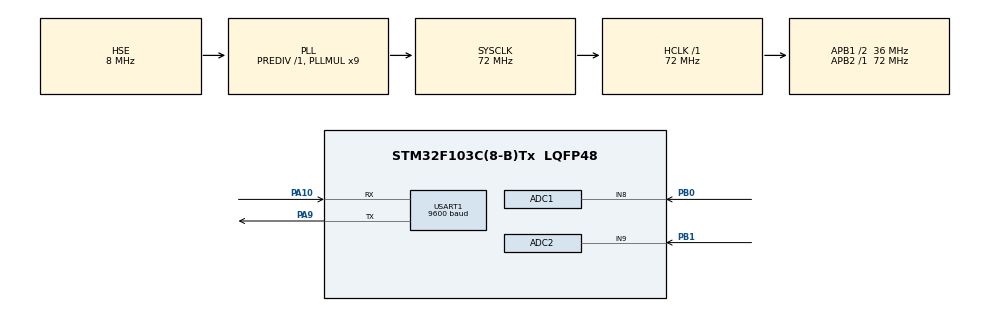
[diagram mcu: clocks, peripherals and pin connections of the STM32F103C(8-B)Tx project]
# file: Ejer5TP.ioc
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ADC1.Channel-5\#ChannelRegularConversion=ADC_CHANNEL_8
ADC1.ContinuousConvMode=ENABLE
ADC1.NbrOfConversionFlag=1
ADC1.Rank-5\#ChannelRegularConversion=1
ADC1.SamplingTime-5\#ChannelRegularConversion=ADC_SAMPLETIME_1CYCLE_5
ADC1.master=1
ADC2.Channel-0\#ChannelRegularConversion=ADC_CHANNEL_9
ADC2.NbrOfConversionFlag=1
ADC2.Rank-0\#ChannelRegularConversion=1
ADC2.SamplingTime-0\#ChannelRegularConversion=ADC_SAMPLETIME_1CYCLE_5
Mcu.Family=STM32F1
Mcu.Name=STM32F103C(8-B)Tx
Mcu.Package=LQFP48
NVIC.ADC1_2_IRQn=true\:0\:0\:false\:false\:true\:true\:true\:true
NVIC.PriorityGroup=NVIC_PRIORITYGROUP_4
NVIC.USART1_IRQn=true\:0\:0\:false\:false\:true\:true\:true\:true
PA10.Mode=Asynchronous
PA10.Signal=USART1_RX
PA13.Mode=Serial_Wire
PA13.Signal=SYS_JTMS-SWDIO
PA14.Mode=Serial_Wire
PA14.Signal=SYS_JTCK-SWCLK
PA9.Mode=Asynchronous
PA9.Signal=USART1_TX
PB0.Signal=ADCx_IN8
PB1.Signal=ADCx_IN9
PD0-OSC_IN.Mode=HSE-External-Oscillator
PD0-OSC_IN.Signal=RCC_OSC_IN
PD1-OSC_OUT.Mode=HSE-External-Oscillator
PD1-OSC_OUT.Signal=RCC_OSC_OUT
ProjectManager.HeapSize=0x200
ProjectManager.StackSize=0x400
ProjectManager.TargetToolchain=STM32CubeIDE
RCC.ADCPresc=RCC_ADCPCLK2_DIV6
RCC.AHBFreq_Value=72000000
RCC.APB1CLKDivider=RCC_HCLK_DIV2
RCC.APB1Freq_Value=36000000
RCC.APB1TimFreq_Value=72000000
RCC.APB2Freq_Value=72000000
RCC.APB2TimFreq_Value=72000000
RCC.HCLKFreq_Value=72000000
RCC.PLLMUL=RCC_PLL_MUL9
RCC.PLLSourceVirtual=RCC_PLLSOURCE_HSE
RCC.SYSCLKFreq_VALUE=72000000
RCC.SYSCLKSource=RCC_SYSCLKSOURCE_PLLCLK
RCC.USBFreq_Value=72000000
SH.ADCx_IN8.0=ADC1_IN8,IN8
SH.ADCx_IN9.0=ADC2_IN9,IN9
USART1.BaudRate=9600
USART1.VirtualMode=VM_ASYNC
board=custom

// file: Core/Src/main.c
/* USER CODE BEGIN Header */
/**
  ******************************************************************************
  * @file           : main.c
  * @brief          : Main program body
  ******************************************************************************
  * @attention
  *
  * Copyright (c) 2024 STMicroelectronics.
  * All rights reserved.
  *
  * This software is licensed under terms that can be found in the LICENSE file
  * in the root directory of this software component.
  * If no LICENSE file comes with this software, it is provided AS-IS.
  *
  ******************************************************************************
  */
/* USER CODE END Header */
#include "main.h"

/* USER CODE BEGIN Includes */
#include "stdio.h"
#include "string.h"
#include <stdio.h>
/* USER CODE END Includes */

ADC_HandleTypeDef hadc1;
ADC_HandleTypeDef hadc2;

UART_HandleTypeDef huart1;

void SystemClock_Config(void);
static void MX_GPIO_Init(void);
static void MX_ADC1_Init(void);
static void MX_USART1_UART_Init(void);
static void MX_ADC2_Init(void);

/* USER CODE BEGIN 0 */
uint16_t measure_value; //valor medido en el divisor resistivo
uint16_t max_value; // valor maximo 3.3V
char msg[50];
char msg2[50];
/* USER CODE END 0 */

int main(void)
{

  /* MCU Configuration--------------------------------------------------------*/

  /* Reset of all peripherals, Initializes the Flash interface and the Systick. */
  HAL_Init();

  /* Configure the system clock */
  SystemClock_Config();

  /* Initialize all configured peripherals */
  MX_GPIO_Init();
  MX_ADC1_Init();
  MX_USART1_UART_Init();
  MX_ADC2_Init();
  /* USER CODE BEGIN 2 */
  HAL_ADC_Start(&hadc1);
  HAL_ADC_Start(&hadc2);
  /* USER CODE END 2 */

  /* Infinite loop */
  /* USER CODE BEGIN WHILE */
  while (1)
  {
	  HAL_ADC_PollForConversion(&hadc2, HAL_MAX_DELAY);
	  max_value = HAL_ADC_GetValue(&hadc2);
	  sprintf(msg2, "ADC CH2 Valor maximo : %u \r\n", max_value);
	  HAL_UART_Transmit(&huart1, (uint8_t*)msg2, strlen(msg2), HAL_MAX_DELAY);

	  HAL_ADC_PollForConversion(&hadc1, HAL_MAX_DELAY);
	  measure_value = HAL_ADC_GetValue(&hadc1);
	  sprintf(msg, "ADC CH1 Valor medido : %u \r\n", measure_value);
	  HAL_UART_Transmit(&huart1, (uint8_t*)msg, strlen(msg), HAL_MAX_DELAY);

	  HAL_Delay(1000);

    /* USER CODE END WHILE */

  }
}

void SystemClock_Config(void)
{
  RCC_OscInitTypeDef RCC_OscInitStruct = {0};
  RCC_ClkInitTypeDef RCC_ClkInitStruct = {0};
  RCC_PeriphCLKInitTypeDef PeriphClkInit = {0};

  /** Initializes the RCC Oscillators according to the specified parameters
  * in the RCC_OscInitTypeDef structure.
  */
  RCC_OscInitStruct.OscillatorType = RCC_OSCILLATORTYPE_HSE;
  RCC_OscInitStruct.HSEState = RCC_HSE_ON;
  RCC_OscInitStruct.HSEPredivValue = RCC_HSE_PREDIV_DIV1;
  RCC_OscInitStruct.HSIState = RCC_HSI_ON;
  RCC_OscInitStruct.PLL.PLLState = RCC_PLL_ON;
  RCC_OscInitStruct.PLL.PLLSource = RCC_PLLSOURCE_HSE;
  RCC_OscInitStruct.PLL.PLLMUL = RCC_PLL_MUL9;
  if (HAL_RCC_OscConfig(&RCC_OscInitStruct) != HAL_OK)
  {
    Error_Handler();
  }

  /** Initializes the CPU, AHB and APB buses clocks
  */
  RCC_ClkInitStruct.ClockType = RCC_CLOCKTYPE_HCLK|RCC_CLOCKTYPE_SYSCLK
                              |RCC_CLOCKTYPE_PCLK1|RCC_CLOCKTYPE_PCLK2;
  RCC_ClkInitStruct.SYSCLKSource = RCC_SYSCLKSOURCE_PLLCLK;
  RCC_ClkInitStruct.AHBCLKDivider = RCC_SYSCLK_DIV1;
  RCC_ClkInitStruct.APB1CLKDivider = RCC_HCLK_DIV2;
  RCC_ClkInitStruct.APB2CLKDivider = RCC_HCLK_DIV1;

  if (HAL_RCC_ClockConfig(&RCC_ClkInitStruct, FLASH_LATENCY_2) != HAL_OK)
  {
    Error_Handler();
  }
  PeriphClkInit.PeriphClockSelection = RCC_PERIPHCLK_ADC;
  PeriphClkInit.AdcClockSelection = RCC_ADCPCLK2_DIV6;
  if (HAL_RCCEx_PeriphCLKConfig(&PeriphClkInit) != HAL_OK)
  {
    Error_Handler();
  }
}

static void MX_ADC1_Init(void)
{

  ADC_ChannelConfTypeDef sConfig = {0};

  /** Common config
  */
  hadc1.Instance = ADC1;
  hadc1.Init.ScanConvMode = ADC_SCAN_DISABLE;
  hadc1.Init.ContinuousConvMode = ENABLE;
  hadc1.Init.DiscontinuousConvMode = DISABLE;
  hadc1.Init.ExternalTrigConv = ADC_SOFTWARE_START;
  hadc1.Init.DataAlign = ADC_DATAALIGN_RIGHT;
  hadc1.Init.NbrOfConversion = 1;
  if (HAL_ADC_Init(&hadc1) != HAL_OK)
  {
    Error_Handler();
  }

  /** Configure Regular Channel
  */
  sConfig.Channel = ADC_CHANNEL_8;
  sConfig.Rank = ADC_REGULAR_RANK_1;
  sConfig.SamplingTime = ADC_SAMPLETIME_1CYCLE_5;
  if (HAL_ADC_ConfigChannel(&hadc1, &sConfig) != HAL_OK)
  {
    Error_Handler();
  }

}

static void MX_ADC2_Init(void)
{

  ADC_ChannelConfTypeDef sConfig = {0};

  /** Common config
  */
  hadc2.Instance = ADC2;
  hadc2.Init.ScanConvMode = ADC_SCAN_DISABLE;
  hadc2.Init.ContinuousConvMode = DISABLE;
  hadc2.Init.DiscontinuousConvMode = DISABLE;
  hadc2.Init.ExternalTrigConv = ADC_SOFTWARE_START;
  hadc2.Init.DataAlign = ADC_DATAALIGN_RIGHT;
  hadc2.Init.NbrOfConversion = 1;
  if (HAL_ADC_Init(&hadc2) != HAL_OK)
  {
    Error_Handler();
  }

  /** Configure Regular Channel
  */
  sConfig.Channel = ADC_CHANNEL_9;
  sConfig.Rank = ADC_REGULAR_RANK_1;
  sConfig.SamplingTime = ADC_SAMPLETIME_1CYCLE_5;
  if (HAL_ADC_ConfigChannel(&hadc2, &sConfig) != HAL_OK)
  {
    Error_Handler();
  }

}

static void MX_USART1_UART_Init(void)
{

  huart1.Instance = USART1;
  huart1.Init.BaudRate = 9600;
  huart1.Init.WordLength = UART_WORDLENGTH_8B;
  huart1.Init.StopBits = UART_STOPBITS_1;
  huart1.Init.Parity = UART_PARITY_NONE;
  huart1.Init.Mode = UART_MODE_TX_RX;
  huart1.Init.HwFlowCtl = UART_HWCONTROL_NONE;
  huart1.Init.OverSampling = UART_OVERSAMPLING_16;
  if (HAL_UART_Init(&huart1) != HAL_OK)
  {
    Error_Handler();
  }

}

static void MX_GPIO_Init(void)
{

  /* GPIO Ports Clock Enable */
  __HAL_RCC_GPIOD_CLK_ENABLE();
  __HAL_RCC_GPIOB_CLK_ENABLE();
  __HAL_RCC_GPIOA_CLK_ENABLE();

}

void Error_Handler(void)
{
  __disable_irq();
  while (1)
  {
  }
}
